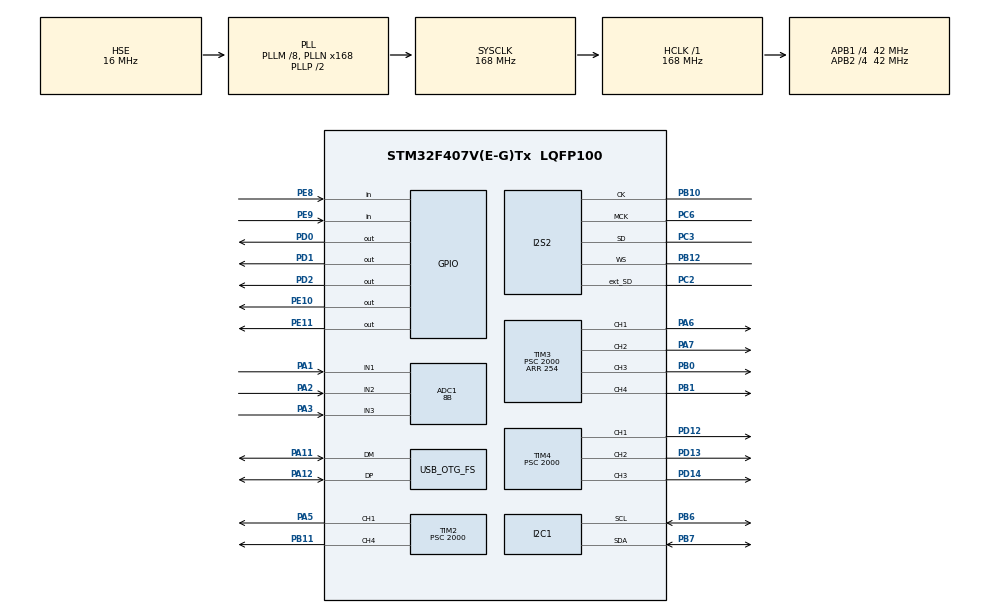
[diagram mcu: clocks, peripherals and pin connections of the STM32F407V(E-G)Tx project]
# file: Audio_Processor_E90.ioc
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ADC1.Channel-1\#ChannelRegularConversion=ADC_CHANNEL_1
ADC1.Channel-2\#ChannelRegularConversion=ADC_CHANNEL_2
ADC1.Channel-3\#ChannelRegularConversion=ADC_CHANNEL_3
ADC1.ContinuousConvMode=ENABLE
ADC1.DMAContinuousRequests=ENABLE
ADC1.NbrOfConversion=3
ADC1.NbrOfConversionFlag=1
ADC1.Rank-1\#ChannelRegularConversion=1
ADC1.Rank-2\#ChannelRegularConversion=2
ADC1.Rank-3\#ChannelRegularConversion=3
ADC1.Resolution=ADC_RESOLUTION_8B
ADC1.SamplingTime-1\#ChannelRegularConversion=ADC_SAMPLETIME_480CYCLES
ADC1.SamplingTime-2\#ChannelRegularConversion=ADC_SAMPLETIME_480CYCLES
ADC1.SamplingTime-3\#ChannelRegularConversion=ADC_SAMPLETIME_480CYCLES
ADC1.ScanConvMode=ENABLE
ADC1.master=1
Dma.ADC1.2.Direction=DMA_PERIPH_TO_MEMORY
Dma.ADC1.2.FIFOMode=DMA_FIFOMODE_DISABLE
Dma.ADC1.2.Instance=DMA2_Stream0
Dma.ADC1.2.MemDataAlignment=DMA_MDATAALIGN_WORD
Dma.ADC1.2.MemInc=DMA_MINC_ENABLE
Dma.ADC1.2.Mode=DMA_CIRCULAR
Dma.ADC1.2.PeriphDataAlignment=DMA_PDATAALIGN_WORD
Dma.ADC1.2.PeriphInc=DMA_PINC_DISABLE
Dma.ADC1.2.Priority=DMA_PRIORITY_LOW
Dma.I2S2_EXT_RX.0.Direction=DMA_PERIPH_TO_MEMORY
Dma.I2S2_EXT_RX.0.FIFOMode=DMA_FIFOMODE_DISABLE
Dma.I2S2_EXT_RX.0.Instance=DMA1_Stream3
Dma.I2S2_EXT_RX.0.MemDataAlignment=DMA_MDATAALIGN_HALFWORD
Dma.I2S2_EXT_RX.0.MemInc=DMA_MINC_ENABLE
Dma.I2S2_EXT_RX.0.Mode=DMA_CIRCULAR
Dma.I2S2_EXT_RX.0.PeriphDataAlignment=DMA_PDATAALIGN_HALFWORD
Dma.I2S2_EXT_RX.0.PeriphInc=DMA_PINC_DISABLE
Dma.I2S2_EXT_RX.0.Priority=DMA_PRIORITY_LOW
Dma.Request0=I2S2_EXT_RX
Dma.Request1=SPI2_TX
Dma.Request2=ADC1
Dma.SPI2_TX.1.Direction=DMA_MEMORY_TO_PERIPH
Dma.SPI2_TX.1.FIFOMode=DMA_FIFOMODE_DISABLE
Dma.SPI2_TX.1.Instance=DMA1_Stream4
Dma.SPI2_TX.1.MemDataAlignment=DMA_MDATAALIGN_HALFWORD
Dma.SPI2_TX.1.MemInc=DMA_MINC_ENABLE
Dma.SPI2_TX.1.Mode=DMA_CIRCULAR
Dma.SPI2_TX.1.PeriphDataAlignment=DMA_PDATAALIGN_HALFWORD
Dma.SPI2_TX.1.PeriphInc=DMA_PINC_DISABLE
Dma.SPI2_TX.1.Priority=DMA_PRIORITY_LOW
I2S2.AudioFreq=I2S_AUDIOFREQ_48K
I2S2.DataFormat=I2S_DATAFORMAT_24B
I2S2.ErrorAudioFreq=-2.34 %
I2S2.FullDuplexMode=I2S_FULLDUPLEXMODE_ENABLE
I2S2.Instance=SPI$Index
I2S2.RealAudioFreq=46.875 KHz
I2S2.VirtualMode=I2S_MODE_MASTER
Mcu.Family=STM32F4
Mcu.Name=STM32F407V(E-G)Tx
Mcu.Package=LQFP100
NVIC.ADC_IRQn=true\:0\:0\:false\:false\:true\:true\:true
NVIC.DMA1_Stream3_IRQn=true\:0\:0\:false\:false\:true\:false\:true
NVIC.DMA1_Stream4_IRQn=true\:0\:0\:false\:false\:true\:false\:true
NVIC.DMA2_Stream0_IRQn=true\:0\:0\:false\:false\:true\:false\:true
NVIC.PriorityGroup=NVIC_PRIORITYGROUP_4
NVIC.SPI2_IRQn=true\:0\:0\:false\:false\:true\:true\:true
PA1.Signal=ADCx_IN1
PA11.Mode=Device_Only
PA11.Signal=USB_OTG_FS_DM
PA12.Mode=Device_Only
PA12.Signal=USB_OTG_FS_DP
PA13.Mode=Trace_Asynchronous_SW
PA13.Signal=SYS_JTMS-SWDIO
PA14.Mode=Trace_Asynchronous_SW
PA14.Signal=SYS_JTCK-SWCLK
PA2.Signal=ADCx_IN2
PA3.Signal=ADCx_IN3
PA5.Signal=S_TIM2_CH1_ETR
PA6.Signal=S_TIM3_CH1
PA7.Signal=S_TIM3_CH2
PB0.Signal=S_TIM3_CH3
PB1.Signal=S_TIM3_CH4
PB10.Mode=Full_Duplex_Master
PB10.Signal=I2S2_CK
PB11.Signal=S_TIM2_CH4
PB12.Mode=Full_Duplex_Master
PB12.Signal=I2S2_WS
PB3.Mode=Trace_Asynchronous_SW
PB3.Signal=SYS_JTDO-SWO
PB6.Mode=I2C
PB6.Signal=I2C1_SCL
PB7.Mode=I2C
PB7.Signal=I2C1_SDA
PC2.Mode=Full_Duplex_Master
PC2.Signal=I2S2_ext_SD
PC3.Mode=Full_Duplex_Master
PC3.Signal=I2S2_SD
PC6.Mode=Master_Clock_Activated
PC6.Signal=I2S2_MCK
PD0.Signal=GPIO_Output
PD1.Signal=GPIO_Output
PD12.Signal=S_TIM4_CH1
PD13.Signal=S_TIM4_CH2
PD14.Signal=S_TIM4_CH3
PD2.Signal=GPIO_Output
PE10.Signal=GPIO_Output
PE11.Signal=GPIO_Output
PE8.Signal=GPIO_Input
PE9.Signal=GPIO_Input
PH0-OSC_IN.Mode=HSE-External-Oscillator
PH0-OSC_IN.Signal=RCC_OSC_IN
PH1-OSC_OUT.Mode=HSE-External-Oscillator
PH1-OSC_OUT.Signal=RCC_OSC_OUT
ProjectManager.HeapSize=0x200
ProjectManager.StackSize=0x400
ProjectManager.TargetToolchain=STM32CubeIDE
RCC.48MHZClocksFreq_Value=48000000
RCC.AHBFreq_Value=168000000
RCC.APB1CLKDivider=RCC_HCLK_DIV4
RCC.APB1Freq_Value=42000000
RCC.APB1TimFreq_Value=84000000
RCC.APB2CLKDivider=RCC_HCLK_DIV4
RCC.APB2Freq_Value=42000000
RCC.APB2TimFreq_Value=84000000
RCC.CortexFreq_Value=168000000
RCC.HCLKFreq_Value=168000000
RCC.HSE_VALUE=16000000
RCC.HSI_VALUE=16000000
RCC.LSE_VALUE=32768
RCC.PLLI2SR=4
RCC.PLLM=8
RCC.PLLN=168
RCC.PLLQ=7
RCC.SYSCLKFreq_VALUE=168000000
RCC.SYSCLKSource=RCC_SYSCLKSOURCE_PLLCLK
RCC.VCOOutputFreq_Value=336000000
SH.ADCx_IN1.0=ADC1_IN1,IN1
SH.ADCx_IN2.0=ADC1_IN2,IN2
SH.ADCx_IN3.0=ADC1_IN3,IN3
SH.S_TIM2_CH1_ETR.0=TIM2_CH1,PWM Generation1 CH1
SH.S_TIM2_CH4.0=TIM2_CH4,PWM Generation4 CH4
SH.S_TIM3_CH1.0=TIM3_CH1,PWM Generation1 CH1
SH.S_TIM3_CH2.0=TIM3_CH2,PWM Generation2 CH2
SH.S_TIM3_CH3.0=TIM3_CH3,PWM Generation3 CH3
SH.S_TIM3_CH4.0=TIM3_CH4,PWM Generation4 CH4
SH.S_TIM4_CH1.0=TIM4_CH1,PWM Generation1 CH1
SH.S_TIM4_CH2.0=TIM4_CH2,PWM Generation2 CH2
SH.S_TIM4_CH3.0=TIM4_CH3,PWM Generation3 CH3
TIM2.Channel-PWM\ Generation1\ CH1=TIM_CHANNEL_1
TIM2.Channel-PWM\ Generation4\ CH4=TIM_CHANNEL_4
TIM2.Period=254
TIM2.Prescaler=2000
TIM3.Channel-PWM\ Generation1\ CH1=TIM_CHANNEL_1
TIM3.Channel-PWM\ Generation2\ CH2=TIM_CHANNEL_2
TIM3.Channel-PWM\ Generation3\ CH3=TIM_CHANNEL_3
TIM3.Channel-PWM\ Generation4\ CH4=TIM_CHANNEL_4
TIM3.Period=254
TIM3.Prescaler=2000
TIM4.Channel-PWM\ Generation1\ CH1=TIM_CHANNEL_1
TIM4.Channel-PWM\ Generation2\ CH2=TIM_CHANNEL_2
TIM4.Channel-PWM\ Generation3\ CH3=TIM_CHANNEL_3
TIM4.Prescaler=2000
USB_OTG_FS.VirtualMode=Device_Only
board=custom

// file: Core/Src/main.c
/* USER CODE BEGIN Header */
/**
  ******************************************************************************
  * @file           : main.c
  * @brief          : Main program body
  ******************************************************************************
  * @attention
  *
  * <h2><center>&copy; Copyright (c) 2021 STMicroelectronics.
  * All rights reserved.</center></h2>
  *
  * This software component is licensed by ST under BSD 3-Clause license,
  * the "License"; You may not use this file except in compliance with the
  * License. You may obtain a copy of the License at:
  *                        opensource.org/licenses/BSD-3-Clause
  *
  ******************************************************************************
  */
/* USER CODE END Header */

#include "main.h"

/* USER CODE BEGIN Includes */
#include "audio_process.h"

/* USER CODE END Includes */

ADC_HandleTypeDef hadc1;
DMA_HandleTypeDef hdma_adc1;

I2C_HandleTypeDef hi2c1;

I2S_HandleTypeDef hi2s2;
DMA_HandleTypeDef hdma_i2s2_ext_rx;
DMA_HandleTypeDef hdma_spi2_tx;

TIM_HandleTypeDef htim2;
TIM_HandleTypeDef htim3;
TIM_HandleTypeDef htim4;

PCD_HandleTypeDef hpcd_USB_OTG_FS;

/* USER CODE BEGIN PV */

uint16_t rx_buf[4];
uint16_t tx_buf[4];
int in_sample, out_sample;

uint32_t adc_buf[3]; pot_vals[3];
volatile int i;

/* USER CODE END PV */

void SystemClock_Config(void);
static void MX_GPIO_Init(void);
static void MX_DMA_Init(void);
static void MX_ADC1_Init(void);
static void MX_I2C1_Init(void);
static void MX_I2S2_Init(void);
static void MX_TIM2_Init(void);
static void MX_TIM3_Init(void);
static void MX_TIM4_Init(void);
static void MX_USB_OTG_FS_PCD_Init(void);

int main(void)
{

  /* MCU Configuration--------------------------------------------------------*/

  /* Reset of all peripherals, Initializes the Flash interface and the Systick. */
  HAL_Init();

  /* Configure the system clock */
  SystemClock_Config();

  /* Initialize all configured peripherals */
  MX_GPIO_Init();
  MX_DMA_Init();
  MX_ADC1_Init();
  MX_I2C1_Init();
  MX_I2S2_Init();
  MX_TIM2_Init();
  MX_TIM3_Init();
  MX_TIM4_Init();
  MX_USB_OTG_FS_PCD_Init();
  /* USER CODE BEGIN 2 */
  process_init();

  // Start Audio Double Buffer DMA transfers
  HAL_I2SEx_TransmitReceive_DMA(&hi2s2, tx_buf, rx_buf, 2);

  // Start ADC1 DMA transfers for Pot values
  HAL_ADC_Start_DMA(&hadc1, adc_buf, 3);

  /* USER CODE END 2 */

  /* Infinite loop */
  while (1)
  {

  }
}

void SystemClock_Config(void)
{
  RCC_OscInitTypeDef RCC_OscInitStruct = {0};
  RCC_ClkInitTypeDef RCC_ClkInitStruct = {0};
  RCC_PeriphCLKInitTypeDef PeriphClkInitStruct = {0};

  /** Configure the main internal regulator output voltage
  */
  __HAL_RCC_PWR_CLK_ENABLE();
  __HAL_PWR_VOLTAGESCALING_CONFIG(PWR_REGULATOR_VOLTAGE_SCALE1);
  /** Initializes the CPU, AHB and APB busses clocks
  */
  RCC_OscInitStruct.OscillatorType = RCC_OSCILLATORTYPE_HSE;
  RCC_OscInitStruct.HSEState = RCC_HSE_ON;
  RCC_OscInitStruct.PLL.PLLState = RCC_PLL_ON;
  RCC_OscInitStruct.PLL.PLLSource = RCC_PLLSOURCE_HSE;
  RCC_OscInitStruct.PLL.PLLM = 8;
  RCC_OscInitStruct.PLL.PLLN = 168;
  RCC_OscInitStruct.PLL.PLLP = RCC_PLLP_DIV2;
  RCC_OscInitStruct.PLL.PLLQ = 7;
  if (HAL_RCC_OscConfig(&RCC_OscInitStruct) != HAL_OK)
  {
    Error_Handler();
  }
  /** Initializes the CPU, AHB and APB busses clocks
  */
  RCC_ClkInitStruct.ClockType = RCC_CLOCKTYPE_HCLK|RCC_CLOCKTYPE_SYSCLK
                              |RCC_CLOCKTYPE_PCLK1|RCC_CLOCKTYPE_PCLK2;
  RCC_ClkInitStruct.SYSCLKSource = RCC_SYSCLKSOURCE_PLLCLK;
  RCC_ClkInitStruct.AHBCLKDivider = RCC_SYSCLK_DIV1;
  RCC_ClkInitStruct.APB1CLKDivider = RCC_HCLK_DIV4;
  RCC_ClkInitStruct.APB2CLKDivider = RCC_HCLK_DIV4;

  if (HAL_RCC_ClockConfig(&RCC_ClkInitStruct, FLASH_LATENCY_5) != HAL_OK)
  {
    Error_Handler();
  }
  PeriphClkInitStruct.PeriphClockSelection = RCC_PERIPHCLK_I2S;
  PeriphClkInitStruct.PLLI2S.PLLI2SN = 192;
  PeriphClkInitStruct.PLLI2S.PLLI2SR = 4;
  if (HAL_RCCEx_PeriphCLKConfig(&PeriphClkInitStruct) != HAL_OK)
  {
    Error_Handler();
  }
}

static void MX_ADC1_Init(void)
{

  ADC_ChannelConfTypeDef sConfig = {0};

  /** Configure the global features of the ADC (Clock, Resolution, Data Alignment and number of conversion)
  */
  hadc1.Instance = ADC1;
  hadc1.Init.ClockPrescaler = ADC_CLOCK_SYNC_PCLK_DIV2;
  hadc1.Init.Resolution = ADC_RESOLUTION_8B;
  hadc1.Init.ScanConvMode = ENABLE;
  hadc1.Init.ContinuousConvMode = ENABLE;
  hadc1.Init.DiscontinuousConvMode = DISABLE;
  hadc1.Init.ExternalTrigConvEdge = ADC_EXTERNALTRIGCONVEDGE_NONE;
  hadc1.Init.ExternalTrigConv = ADC_SOFTWARE_START;
  hadc1.Init.DataAlign = ADC_DATAALIGN_RIGHT;
  hadc1.Init.NbrOfConversion = 3;
  hadc1.Init.DMAContinuousRequests = ENABLE;
  hadc1.Init.EOCSelection = ADC_EOC_SINGLE_CONV;
  if (HAL_ADC_Init(&hadc1) != HAL_OK)
  {
    Error_Handler();
  }
  /** Configure for the selected ADC regular channel its corresponding rank in the sequencer and its sample time.
  */
  sConfig.Channel = ADC_CHANNEL_1;
  sConfig.Rank = 1;
  sConfig.SamplingTime = ADC_SAMPLETIME_480CYCLES;
  if (HAL_ADC_ConfigChannel(&hadc1, &sConfig) != HAL_OK)
  {
    Error_Handler();
  }
  /** Configure for the selected ADC regular channel its corresponding rank in the sequencer and its sample time.
  */
  sConfig.Channel = ADC_CHANNEL_2;
  sConfig.Rank = 2;
  if (HAL_ADC_ConfigChannel(&hadc1, &sConfig) != HAL_OK)
  {
    Error_Handler();
  }
  /** Configure for the selected ADC regular channel its corresponding rank in the sequencer and its sample time.
  */
  sConfig.Channel = ADC_CHANNEL_3;
  sConfig.Rank = 3;
  if (HAL_ADC_ConfigChannel(&hadc1, &sConfig) != HAL_OK)
  {
    Error_Handler();
  }

}

static void MX_I2C1_Init(void)
{

  hi2c1.Instance = I2C1;
  hi2c1.Init.ClockSpeed = 100000;
  hi2c1.Init.DutyCycle = I2C_DUTYCYCLE_2;
  hi2c1.Init.OwnAddress1 = 0;
  hi2c1.Init.AddressingMode = I2C_ADDRESSINGMODE_7BIT;
  hi2c1.Init.DualAddressMode = I2C_DUALADDRESS_DISABLE;
  hi2c1.Init.OwnAddress2 = 0;
  hi2c1.Init.GeneralCallMode = I2C_GENERALCALL_DISABLE;
  hi2c1.Init.NoStretchMode = I2C_NOSTRETCH_DISABLE;
  if (HAL_I2C_Init(&hi2c1) != HAL_OK)
  {
    Error_Handler();
  }

}

static void MX_I2S2_Init(void)
{

  hi2s2.Instance = SPI2;
  hi2s2.Init.Mode = I2S_MODE_MASTER_TX;
  hi2s2.Init.Standard = I2S_STANDARD_PHILIPS;
  hi2s2.Init.DataFormat = I2S_DATAFORMAT_24B;
  hi2s2.Init.MCLKOutput = I2S_MCLKOUTPUT_ENABLE;
  hi2s2.Init.AudioFreq = I2S_AUDIOFREQ_48K;
  hi2s2.Init.CPOL = I2S_CPOL_LOW;
  hi2s2.Init.ClockSource = I2S_CLOCK_PLL;
  hi2s2.Init.FullDuplexMode = I2S_FULLDUPLEXMODE_ENABLE;
  if (HAL_I2S_Init(&hi2s2) != HAL_OK)
  {
    Error_Handler();
  }

}

static void MX_TIM2_Init(void)
{

  TIM_MasterConfigTypeDef sMasterConfig = {0};
  TIM_OC_InitTypeDef sConfigOC = {0};

  htim2.Instance = TIM2;
  htim2.Init.Prescaler = 2000;
  htim2.Init.CounterMode = TIM_COUNTERMODE_UP;
  htim2.Init.Period = 254;
  htim2.Init.ClockDivision = TIM_CLOCKDIVISION_DIV1;
  htim2.Init.AutoReloadPreload = TIM_AUTORELOAD_PRELOAD_DISABLE;
  if (HAL_TIM_PWM_Init(&htim2) != HAL_OK)
  {
    Error_Handler();
  }
  sMasterConfig.MasterOutputTrigger = TIM_TRGO_RESET;
  sMasterConfig.MasterSlaveMode = TIM_MASTERSLAVEMODE_DISABLE;
  if (HAL_TIMEx_MasterConfigSynchronization(&htim2, &sMasterConfig) != HAL_OK)
  {
    Error_Handler();
  }
  sConfigOC.OCMode = TIM_OCMODE_PWM1;
  sConfigOC.Pulse = 0;
  sConfigOC.OCPolarity = TIM_OCPOLARITY_HIGH;
  sConfigOC.OCFastMode = TIM_OCFAST_DISABLE;
  if (HAL_TIM_PWM_ConfigChannel(&htim2, &sConfigOC, TIM_CHANNEL_1) != HAL_OK)
  {
    Error_Handler();
  }
  if (HAL_TIM_PWM_ConfigChannel(&htim2, &sConfigOC, TIM_CHANNEL_4) != HAL_OK)
  {
    Error_Handler();
  }
  HAL_TIM_MspPostInit(&htim2);

}

static void MX_TIM3_Init(void)
{

  TIM_MasterConfigTypeDef sMasterConfig = {0};
  TIM_OC_InitTypeDef sConfigOC = {0};

  htim3.Instance = TIM3;
  htim3.Init.Prescaler = 2000;
  htim3.Init.CounterMode = TIM_COUNTERMODE_UP;
  htim3.Init.Period = 254;
  htim3.Init.ClockDivision = TIM_CLOCKDIVISION_DIV1;
  htim3.Init.AutoReloadPreload = TIM_AUTORELOAD_PRELOAD_DISABLE;
  if (HAL_TIM_PWM_Init(&htim3) != HAL_OK)
  {
    Error_Handler();
  }
  sMasterConfig.MasterOutputTrigger = TIM_TRGO_RESET;
  sMasterConfig.MasterSlaveMode = TIM_MASTERSLAVEMODE_DISABLE;
  if (HAL_TIMEx_MasterConfigSynchronization(&htim3, &sMasterConfig) != HAL_OK)
  {
    Error_Handler();
  }
  sConfigOC.OCMode = TIM_OCMODE_PWM1;
  sConfigOC.Pulse = 0;
  sConfigOC.OCPolarity = TIM_OCPOLARITY_HIGH;
  sConfigOC.OCFastMode = TIM_OCFAST_DISABLE;
  if (HAL_TIM_PWM_ConfigChannel(&htim3, &sConfigOC, TIM_CHANNEL_1) != HAL_OK)
  {
    Error_Handler();
  }
  if (HAL_TIM_PWM_ConfigChannel(&htim3, &sConfigOC, TIM_CHANNEL_2) != HAL_OK)
  {
    Error_Handler();
  }
  if (HAL_TIM_PWM_ConfigChannel(&htim3, &sConfigOC, TIM_CHANNEL_3) != HAL_OK)
  {
    Error_Handler();
  }
  if (HAL_TIM_PWM_ConfigChannel(&htim3, &sConfigOC, TIM_CHANNEL_4) != HAL_OK)
  {
    Error_Handler();
  }
  HAL_TIM_MspPostInit(&htim3);

}

static void MX_TIM4_Init(void)
{

  TIM_MasterConfigTypeDef sMasterConfig = {0};
  TIM_OC_InitTypeDef sConfigOC = {0};

  htim4.Instance = TIM4;
  htim4.Init.Prescaler = 2000;
  htim4.Init.CounterMode = TIM_COUNTERMODE_UP;
  htim4.Init.Period = 0;
  htim4.Init.ClockDivision = TIM_CLOCKDIVISION_DIV1;
  htim4.Init.AutoReloadPreload = TIM_AUTORELOAD_PRELOAD_DISABLE;
  if (HAL_TIM_PWM_Init(&htim4) != HAL_OK)
  {
    Error_Handler();
  }
  sMasterConfig.MasterOutputTrigger = TIM_TRGO_RESET;
  sMasterConfig.MasterSlaveMode = TIM_MASTERSLAVEMODE_DISABLE;
  if (HAL_TIMEx_MasterConfigSynchronization(&htim4, &sMasterConfig) != HAL_OK)
  {
    Error_Handler();
  }
  sConfigOC.OCMode = TIM_OCMODE_PWM1;
  sConfigOC.Pulse = 0;
  sConfigOC.OCPolarity = TIM_OCPOLARITY_HIGH;
  sConfigOC.OCFastMode = TIM_OCFAST_DISABLE;
  if (HAL_TIM_PWM_ConfigChannel(&htim4, &sConfigOC, TIM_CHANNEL_1) != HAL_OK)
  {
    Error_Handler();
  }
  if (HAL_TIM_PWM_ConfigChannel(&htim4, &sConfigOC, TIM_CHANNEL_2) != HAL_OK)
  {
    Error_Handler();
  }
  if (HAL_TIM_PWM_ConfigChannel(&htim4, &sConfigOC, TIM_CHANNEL_3) != HAL_OK)
  {
    Error_Handler();
  }
  HAL_TIM_MspPostInit(&htim4);

}

static void MX_USB_OTG_FS_PCD_Init(void)
{

  hpcd_USB_OTG_FS.Instance = USB_OTG_FS;
  hpcd_USB_OTG_FS.Init.dev_endpoints = 4;
  hpcd_USB_OTG_FS.Init.speed = PCD_SPEED_FULL;
  hpcd_USB_OTG_FS.Init.dma_enable = DISABLE;
  hpcd_USB_OTG_FS.Init.phy_itface = PCD_PHY_EMBEDDED;
  hpcd_USB_OTG_FS.Init.Sof_enable = DISABLE;
  hpcd_USB_OTG_FS.Init.low_power_enable = DISABLE;
  hpcd_USB_OTG_FS.Init.lpm_enable = DISABLE;
  hpcd_USB_OTG_FS.Init.vbus_sensing_enable = DISABLE;
  hpcd_USB_OTG_FS.Init.use_dedicated_ep1 = DISABLE;
  if (HAL_PCD_Init(&hpcd_USB_OTG_FS) != HAL_OK)
  {
    Error_Handler();
  }

}

static void MX_DMA_Init(void)
{

  /* DMA controller clock enable */
  __HAL_RCC_DMA1_CLK_ENABLE();
  __HAL_RCC_DMA2_CLK_ENABLE();

  /* DMA interrupt init */
  /* DMA1_Stream3_IRQn interrupt configuration */
  HAL_NVIC_SetPriority(DMA1_Stream3_IRQn, 0, 0);
  HAL_NVIC_EnableIRQ(DMA1_Stream3_IRQn);
  /* DMA1_Stream4_IRQn interrupt configuration */
  //HAL_NVIC_SetPriority(DMA1_Stream4_IRQn, 0, 0);
  //HAL_NVIC_EnableIRQ(DMA1_Stream4_IRQn);

  /* DMA2_Stream0_IRQn interrupt configuration */
  HAL_NVIC_SetPriority(DMA2_Stream0_IRQn, 0, 0);
  HAL_NVIC_EnableIRQ(DMA2_Stream0_IRQn);

}

static void MX_GPIO_Init(void)
{
  GPIO_InitTypeDef GPIO_InitStruct = {0};

  /* GPIO Ports Clock Enable */
  __HAL_RCC_GPIOH_CLK_ENABLE();
  __HAL_RCC_GPIOC_CLK_ENABLE();
  __HAL_RCC_GPIOA_CLK_ENABLE();
  __HAL_RCC_GPIOB_CLK_ENABLE();
  __HAL_RCC_GPIOE_CLK_ENABLE();
  __HAL_RCC_GPIOD_CLK_ENABLE();

  /*Configure GPIO pin Output Level */
  HAL_GPIO_WritePin(GPIOE, GPIO_PIN_10|GPIO_PIN_11, GPIO_PIN_RESET);

  /*Configure GPIO pin Output Level */
  HAL_GPIO_WritePin(GPIOD, GPIO_PIN_0|GPIO_PIN_1|GPIO_PIN_2, GPIO_PIN_RESET);

  /*Configure GPIO pins : PE8 PE9 */
  GPIO_InitStruct.Pin = GPIO_PIN_8|GPIO_PIN_9;
  GPIO_InitStruct.Mode = GPIO_MODE_INPUT;
  GPIO_InitStruct.Pull = GPIO_NOPULL;
  HAL_GPIO_Init(GPIOE, &GPIO_InitStruct);

  /*Configure GPIO pins : PE10 PE11 */
  GPIO_InitStruct.Pin = GPIO_PIN_10|GPIO_PIN_11;
  GPIO_InitStruct.Mode = GPIO_MODE_OUTPUT_PP;
  GPIO_InitStruct.Pull = GPIO_NOPULL;
  GPIO_InitStruct.Speed = GPIO_SPEED_FREQ_LOW;
  HAL_GPIO_Init(GPIOE, &GPIO_InitStruct);

  /*Configure GPIO pins : PD0 PD1 PD2 */
  GPIO_InitStruct.Pin = GPIO_PIN_0|GPIO_PIN_1|GPIO_PIN_2;
  GPIO_InitStruct.Mode = GPIO_MODE_OUTPUT_PP;
  GPIO_InitStruct.Pull = GPIO_NOPULL;
  GPIO_InitStruct.Speed = GPIO_SPEED_FREQ_LOW;
  HAL_GPIO_Init(GPIOD, &GPIO_InitStruct);

}

/* USER CODE BEGIN 4 */
void HAL_ADC_ConvCpltCallback(ADC_HandleTypeDef* hadc) {

  for(i=0; i<3; i++){
      pot_vals[i] = adc_buf[i];
  }
}

//I2S RX line DMA transfer half complete callback
void HAL_I2SEx_TxRxHalfCpltCallback(I2S_HandleTypeDef *hi2s)
{
  //retrieve sample from rx_buf
  in_sample  = (((int)rx_buf[0]<<16)|rx_buf[1])>>8;

  // do audio processing
  process(&in_sample, &out_sample);

  //place processed sample into tx_buf
  tx_buf[0] = (out_sample>>8) & 0xFFFF;
  tx_buf[1] = out_sample & 0xFFFF;

}

//I2S RX line DMA transfer complete callback
void HAL_I2SEx_TxRxCpltCallback(I2S_HandleTypeDef *hi2s)
{
  //retrieve sample from rx_buf
  in_sample  = (((int)rx_buf[2]<<16)|rx_buf[3])>>8;

  // does audio processing
  process(&in_sample, &out_sample);

  //place processed sample into tx_buf
  tx_buf[2] = (out_sample>>8) & 0xFFFF;
  tx_buf[3] = out_sample & 0xFFFF;

}

/* USER CODE END 4 */

void Error_Handler(void)
{
}

/************************ (C) COPYRIGHT STMicroelectronics *****END OF FILE****/
